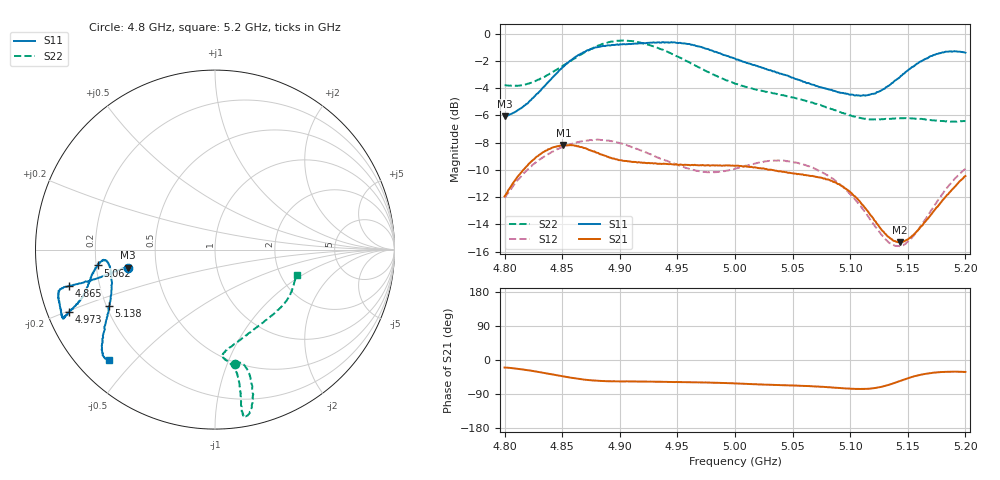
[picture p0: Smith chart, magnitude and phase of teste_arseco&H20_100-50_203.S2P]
! Network Analyzer HP8722D
! Hewlett-Packard
! Data name: Linha & Wilkinson
! Saver's name: Rodrigo Anjos
! Comments: Teste da utilização de aquisição
! continua pelo VNA HP8722D
! Time and date: 6/5/2025 14:15
!  Frequency  S11  S21  S12  S22
# HZ  S  MA R 50
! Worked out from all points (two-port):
!   401 points, 4.8 GHz to 5.2 GHz, reference 50 ohm
!   highest |S21| = -8.17 dB at 4.851 GHz (marker M1); lowest = -15.3 dB at 5.143 GHz (marker M2)
!   |S21| within 3 dB of the highest: 4.806 GHz to 5.093 GHz (286.6 MHz wide, 5.79 % of centre); 5.191528 GHz to end of sweep
!   lowest |S11| = -6.1 dB at 4.8 GHz (marker M3), VSWR 2.97, Z = 17 - j4.55 ohm
!   |S11| at or under -10 dB: nowhere
!   |S22| runs from -6.5 to -0.5 dB; largest |S21 - S12| = 0.62
!   S11 on the Smith chart (normalised r, x): 4.8 GHz: 0.34, -0.09; 4.865 GHz: 0.09, -0.12; 4.973 GHz: 0.06, -0.20; 5.062 GHz: 0.21, -0.06; 5.138 GHz: 0.21, -0.24; 5.2 GHz: 0.09, -0.42
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4.8e9  0.4967 -168.3  0.2529 -19.8  0.2494 -141.1  0.6473 -80.3
4.823e9  0.5713 -167.6  0.339 -28.3  0.325 -144.0  0.6606 -75.9
4.851e9  0.7564 -166.0  0.3902 -43.5  0.3844 -149.3  0.7651 -74.6
4.865e9  0.8387 -166.1  0.3843 -50.0  0.4012 -151.8  0.8338 -75.2
4.867e9  0.8474 -166.0  0.3834 -50.9  0.4025 -152.1  0.8424 -75.6
4.899e9  0.9106 -162.9  0.3434 -56.6  0.3978 -156.8  0.9424 -79.1
4.934e9  0.9297 -156.6  0.3329 -57.5  0.3499 -155.7  0.8828 -80.5
4.949e9  0.9252 -155.5  0.3319 -57.9  0.3315 -153.1  0.828 -80.1
4.973e9  0.8875 -156.8  0.3285 -59.5  0.3106 -145.9  0.7369 -79.7
5e9  0.8109 -159.0  0.3275 -61.8  0.3196 -137.3  0.6555 -81.3
5.035e9  0.7242 -165.4  0.314 -65.9  0.342 -134.4  0.6023 -85.6
5.062e9  0.6583 -172.3  0.302 -68.7  0.3279 -136.4  0.5659 -83.9
5.067e9  0.6503 -173.1  0.3005 -69.3  0.3227 -136.8  0.5589 -82.6
5.083e9  0.6223 -174.4  0.2883 -72.4  0.2968 -138.4  0.5302 -76.7
5.101e9  0.5982 -172.2  0.2601 -75.8  0.2548 -138.9  0.5 -66.5
5.116e9  0.5965 -165.4  0.2208 -75.9  0.212 -135.4  0.4854 -55.7
5.134e9  0.6464 -154.3  0.1781 -65.2  0.1703 -120.7  0.4867 -43.3
5.138e9  0.6681 -151.9  0.1734 -61.1  0.1671 -115.5  0.4875 -40.8
5.143e9  0.6921 -149.4  0.1712 -55.7  0.1658 -108.9  0.4892 -38.0
5.154e9  0.756 -144.6  0.1814 -44.6  0.1793 -95.1  0.4884 -32.3
5.174e9  0.8389 -138.6  0.2271 -32.8  0.2365 -80.4  0.4797 -23.9
5.2e9  0.8519 -133.7  0.3002 -31.5  0.3194 -77.0  0.4783 -17.5
